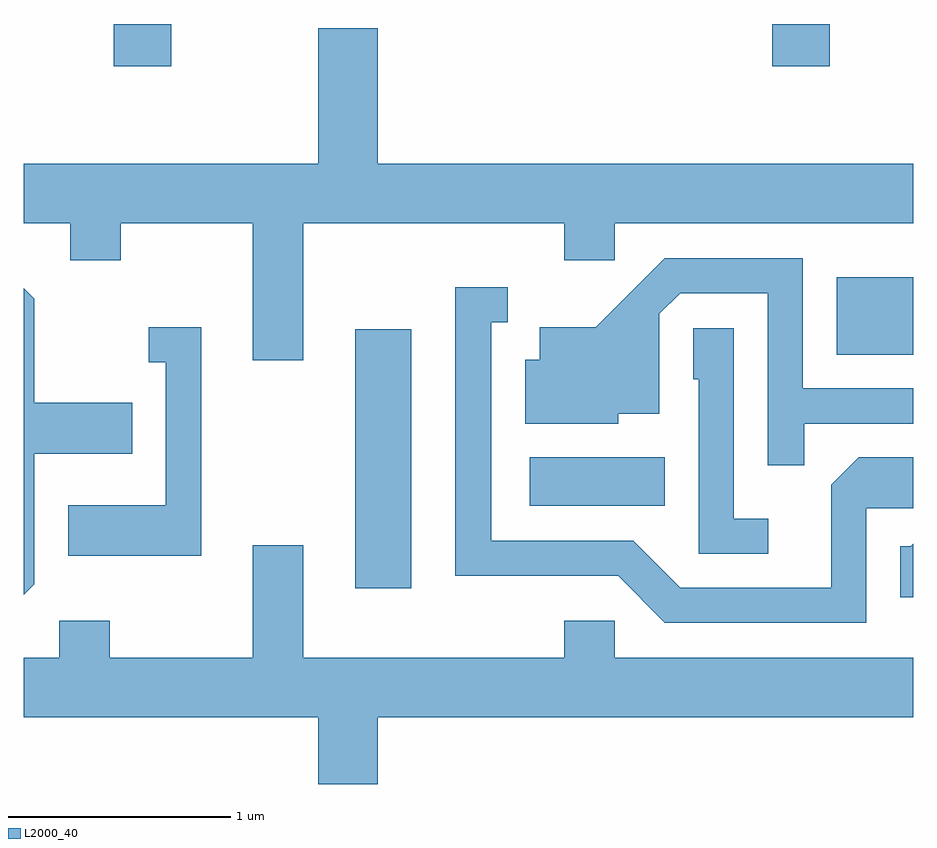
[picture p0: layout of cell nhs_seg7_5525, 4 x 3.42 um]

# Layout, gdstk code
import gdstk
lib = gdstk.Library(unit=1e-6, precision=1e-09)
def R(c, l, rs):  # rectangles x0, y0, x1, y1
    for r in rs: c.add(gdstk.rectangle(r[:2], r[2:], *l))
def P(c, l, *ps):  # polygons
    for p in ps: c.add(gdstk.Polygon(p, *l))
L2000_40 = (2000, 40)

nhs_seg7_5525 = lib.new_cell('nhs_seg7_5525')
R(nhs_seg7_5525, L2000_40, [(355.101,1783.716,355.354,1784.879), (355.886,1784.086,356.494,1784.304), (357.266,1784.766,357.611,1785.114), (354.016,1786.061,354.274,1786.252), (356.976,1786.061,357.234,1786.252)])
P(nhs_seg7_5525, L2000_40, [(354.869,1785.356),(356.041,1785.356),(356.041,1785.191),(356.269,1785.191),(356.269,1785.356),(357.611,1785.356),(357.611,1785.624),(355.204,1785.624),(355.204,1786.234),(354.936,1786.234),(354.936,1785.624),(353.611,1785.624),(353.611,1785.356),(353.821,1785.356),(353.821,1785.191),(354.049,1785.191),(354.049,1785.356),(354.641,1785.356),(354.641,1784.741),(354.869,1784.741)],
  [(357.119,1784.456),(357.611,1784.456),(357.611,1784.614),(357.114,1784.614),(357.114,1785.199),(356.494,1785.199),(356.184,1784.889),(355.931,1784.889),(355.931,1784.744),(355.866,1784.744),(355.866,1784.456),(356.284,1784.456),(356.284,1784.501),(356.469,1784.501),(356.469,1784.949),(356.562,1785.041),(356.956,1785.041),(356.956,1784.268),(357.119,1784.268)],
  [(357.399,1784.076),(357.611,1784.076),(357.611,1784.304),(357.364,1784.304),(357.241,1784.182),(357.241,1783.719),(356.562,1783.719),(356.352,1783.929),(355.714,1783.929),(355.714,1784.911),(355.788,1784.911),(355.788,1785.069),(355.551,1785.069),(355.551,1783.771),(356.284,1783.771),(356.494,1783.561),(357.399,1783.561)],
  [(353.659,1783.734),(353.659,1784.321),(354.099,1784.321),(354.099,1784.549),(353.659,1784.549),(353.659,1785.017),(353.611,1785.065),(353.611,1783.686)],
  [(354.409,1784.889),(354.173,1784.889),(354.173,1784.731),(354.251,1784.731),(354.251,1784.089),(353.811,1784.089),(353.811,1783.861),(354.409,1783.861)],
  [(356.958,1784.029),(356.804,1784.029),(356.804,1784.884),(356.621,1784.884),(356.621,1784.656),(356.646,1784.656),(356.646,1783.871),(356.958,1783.871)],
  [(357.611,1783.916),(357.599,1783.904),(357.551,1783.904),(357.551,1783.676),(357.611,1783.676)],
  [(355.204,1783.136),(357.611,1783.136),(357.611,1783.404),(356.269,1783.404),(356.269,1783.569),(356.041,1783.569),(356.041,1783.404),(354.869,1783.404),(354.869,1783.909),(354.641,1783.909),(354.641,1783.404),(353.999,1783.404),(353.999,1783.569),(353.771,1783.569),(353.771,1783.404),(353.611,1783.404),(353.611,1783.136),(354.936,1783.136),(354.936,1782.836),(355.204,1782.836)])

lib.write_gds('nhs_seg7_5525.gds')
